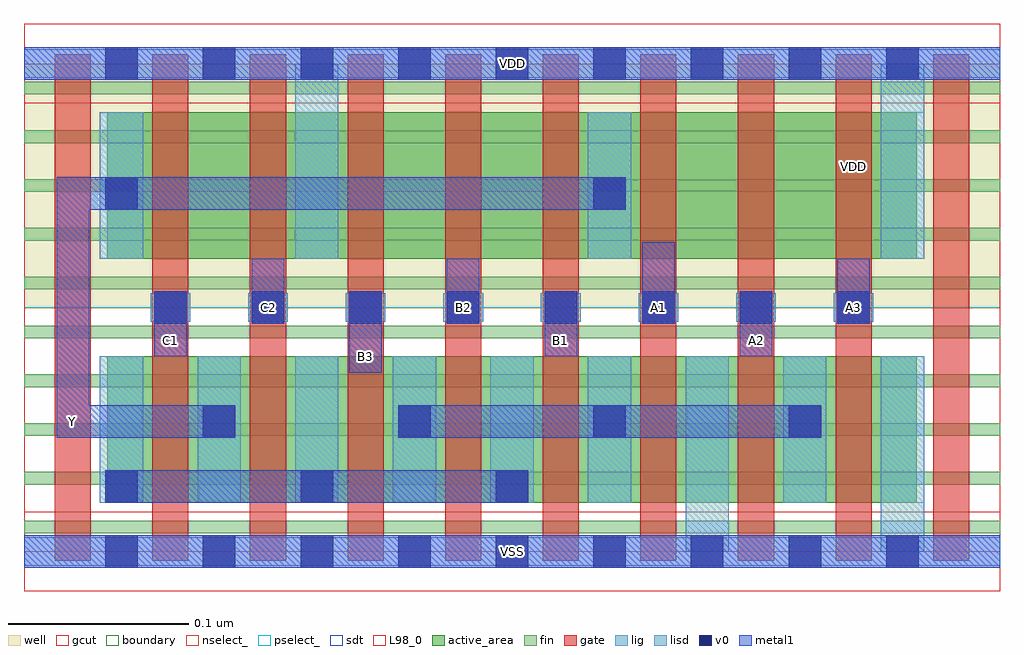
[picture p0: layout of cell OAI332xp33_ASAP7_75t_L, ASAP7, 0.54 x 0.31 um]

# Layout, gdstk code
import gdstk
lib = gdstk.Library(unit=1e-6, precision=2.5e-10)
def R(c, l, rs):  # rectangles x0, y0, x1, y1
    for r in rs: c.add(gdstk.rectangle(r[:2], r[2:], *l))
def A(c, l, x, y, w, h, nx, ny, dx, dy):  # array of equal rectangles
    R(c, l, [(x+i*dx, y+j*dy, x+i*dx+w, y+j*dy+h) for i in range(nx) for j in range(ny)])
def P(c, l, *ps):  # polygons
    for p in ps: c.add(gdstk.Polygon(p, *l))
well = (1, 0)
fin = (2, 0)
gate = (7, 0)
gcut = (10, 0)
active_area = (11, 0)
nselect_ = (12, 0)
pselect_ = (13, 0)
lig = (16, 0)
lisd = (17, 0)
v0 = (18, 0)
metal1 = (19, 0)
sdt = (88, 0)
L98_0 = (98, 0)
boundary = (100, 0)

oai332xp33_asap7_75t_l = lib.new_cell('OAI332xp33_ASAP7_75t_L')
R(oai332xp33_asap7_75t_l, well, [(0,0.135,0.54,0.27)])
A(oai332xp33_asap7_75t_l, fin, 0, 0.01, 0.54, 0.007, 1, 10, 0, 0.027)
A(oai332xp33_asap7_75t_l, gate, 0.017, -0.005, 0.02, 0.28, 10, 1, 0.054, 0)
R(oai332xp33_asap7_75t_l, gcut, [(0,-0.022,0.54,0.022), (0,0.248,0.54,0.292)])
R(oai332xp33_asap7_75t_l, active_area, [(0.046,0.027,0.494,0.108), (0.046,0.162,0.494,0.243)])
R(oai332xp33_asap7_75t_l, nselect_, [(0,0,0.54,0.135)])
R(oai332xp33_asap7_75t_l, pselect_, [(0,0.135,0.54,0.27)])
A(oai332xp33_asap7_75t_l, lig, 0.07, 0.127, 0.022, 0.016, 8, 1, 0.054, 0)
R(oai332xp33_asap7_75t_l, lig, [(0,-0.008,0.54,0.008), (0,0.262,0.54,0.278)])
A(oai332xp33_asap7_75t_l, lisd, 0.042, 0.027, 0.024, 0.081, 6, 1, 0.054, 0)
R(oai332xp33_asap7_75t_l, lisd, [(0.366,0,0.39,0.108), (0.474,0,0.498,0.108), (0.42,0.027,0.444,0.108), (0.042,0.162,0.066,0.243), (0.15,0.162,0.174,0.27), (0.312,0.162,0.336,0.243), (0.474,0.162,0.498,0.27)])
A(oai332xp33_asap7_75t_l, v0, 0.045, -0.009, 0.018, 0.018, 9, 2, 0.054, 0.27)
A(oai332xp33_asap7_75t_l, v0, 0.045, 0.027, 0.018, 0.018, 3, 1, 0.108, 0)
A(oai332xp33_asap7_75t_l, v0, 0.099, 0.063, 0.018, 0.018, 4, 1, 0.108, 0)
A(oai332xp33_asap7_75t_l, v0, 0.072, 0.126, 0.018, 0.018, 8, 1, 0.054, 0)
R(oai332xp33_asap7_75t_l, v0, [(0.045,0.189,0.063,0.207), (0.315,0.189,0.333,0.207)])
R(oai332xp33_asap7_75t_l, metal1, [(0,-0.009,0.54,0.009), (0.045,0.027,0.279,0.045), (0.207,0.063,0.441,0.081), (0.18,0.099,0.198,0.144), (0.072,0.108,0.09,0.144), (0.288,0.108,0.306,0.144), (0.396,0.108,0.414,0.144), (0.126,0.126,0.144,0.162), (0.234,0.126,0.252,0.162), (0.342,0.126,0.36,0.171), (0.45,0.126,0.468,0.162), (0,0.261,0.54,0.279)])
P(oai332xp33_asap7_75t_l, metal1, [(0.117,0.081),(0.036,0.081),(0.036,0.189),(0.333,0.189),(0.333,0.207),(0.018,0.207),(0.018,0.063),(0.117,0.063)])
A(oai332xp33_asap7_75t_l, sdt, 0.042, 0.027, 0.024, 0.081, 9, 1, 0.054, 0)
A(oai332xp33_asap7_75t_l, sdt, 0.15, 0.162, 0.024, 0.081, 3, 1, 0.162, 0)
R(oai332xp33_asap7_75t_l, sdt, [(0.042,0.162,0.066,0.243)])
R(oai332xp33_asap7_75t_l, L98_0, [(0,0,0.54,0.27)])
R(oai332xp33_asap7_75t_l, boundary, [(0,0,0.54,0.27)])
oai332xp33_asap7_75t_l.add(gdstk.Label('A2', (0.405,0.117), layer=19, texttype=251))
oai332xp33_asap7_75t_l.add(gdstk.Label('C2', (0.135,0.135), layer=19, texttype=251))
oai332xp33_asap7_75t_l.add(gdstk.Label('B3', (0.189,0.108), layer=19, texttype=251))
oai332xp33_asap7_75t_l.add(gdstk.Label('B1', (0.297,0.117), layer=19, texttype=251))
oai332xp33_asap7_75t_l.add(gdstk.Label('C1', (0.081,0.117), layer=19, texttype=251))
oai332xp33_asap7_75t_l.add(gdstk.Label('Y', (0.027,0.072), layer=19, texttype=251))
oai332xp33_asap7_75t_l.add(gdstk.Label('A3', (0.459,0.135), layer=19, texttype=251))
oai332xp33_asap7_75t_l.add(gdstk.Label('B2', (0.243,0.135), layer=19, texttype=251))
oai332xp33_asap7_75t_l.add(gdstk.Label('A1', (0.351,0.135), layer=19, texttype=251))
oai332xp33_asap7_75t_l.add(gdstk.Label('VSS', (0.27,0), layer=19, texttype=251))
oai332xp33_asap7_75t_l.add(gdstk.Label('VDD', (0.27,0.27), layer=19, texttype=251))
oai332xp33_asap7_75t_l.add(gdstk.Label('VDD', (0.459,0.213), layer=1, texttype=251))
oai332xp33_asap7_75t_l.add(gdstk.Label('VSS', (0.621,0.213), layer=3, texttype=251))

lib.write_gds('OAI332xp33_ASAP7_75t_L.gds')
